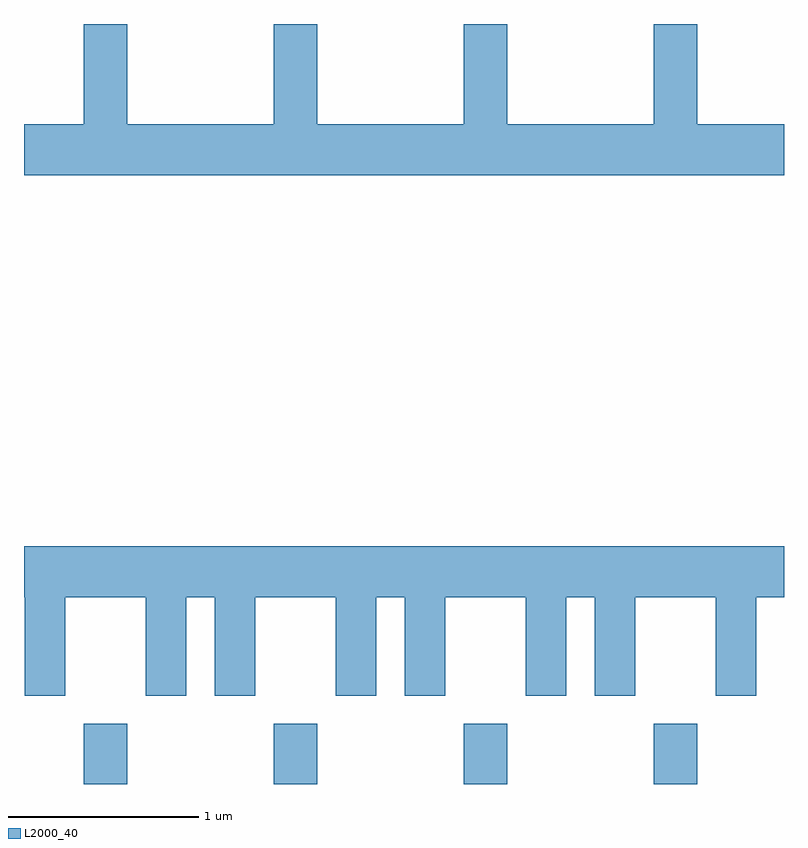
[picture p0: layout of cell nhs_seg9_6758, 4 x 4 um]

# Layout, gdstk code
import gdstk
lib = gdstk.Library(unit=1e-6, precision=1e-09)
def R(c, l, rs):  # rectangles x0, y0, x1, y1
    for r in rs: c.add(gdstk.rectangle(r[:2], r[2:], *l))
def A(c, l, x, y, w, h, nx, ny, dx, dy):  # array of equal rectangles
    R(c, l, [(x+i*dx, y+j*dy, x+i*dx+w, y+j*dy+h) for i in range(nx) for j in range(ny)])
def P(c, l, *ps):  # polygons
    for p in ps: c.add(gdstk.Polygon(p, *l))
L2000_40 = (2000, 40)

nhs_seg9_6758 = lib.new_cell('nhs_seg9_6758')
A(nhs_seg9_6758, L2000_40, 385.926, 1946.432, 0.228, 0.317, 4, 1, 1, 0)
P(nhs_seg9_6758, L2000_40, [(389.611,1949.904),(389.154,1949.904),(389.154,1950.432),(388.926,1950.432),(388.926,1949.904),(388.154,1949.904),(388.154,1950.432),(387.926,1950.432),(387.926,1949.904),(387.154,1949.904),(387.154,1950.432),(386.926,1950.432),(386.926,1949.904),(386.154,1949.904),(386.154,1950.432),(385.926,1950.432),(385.926,1949.904),(385.611,1949.904),(385.611,1949.636),(389.611,1949.636)],
  [(385.829,1947.416),(386.251,1947.416),(386.251,1946.896),(386.464,1946.896),(386.464,1947.416),(386.616,1947.416),(386.616,1946.896),(386.829,1946.896),(386.829,1947.416),(387.251,1947.416),(387.251,1946.896),(387.464,1946.896),(387.464,1947.416),(387.616,1947.416),(387.616,1946.896),(387.829,1946.896),(387.829,1947.416),(388.251,1947.416),(388.251,1946.896),(388.464,1946.896),(388.464,1947.416),(388.616,1947.416),(388.616,1946.896),(388.829,1946.896),(388.829,1947.416),(389.251,1947.416),(389.251,1946.896),(389.464,1946.896),(389.464,1947.416),(389.611,1947.416),(389.611,1947.684),(385.611,1947.684),(385.611,1947.416),(385.616,1947.416),(385.616,1946.896),(385.829,1946.896)])

lib.write_gds('nhs_seg9_6758.gds')
